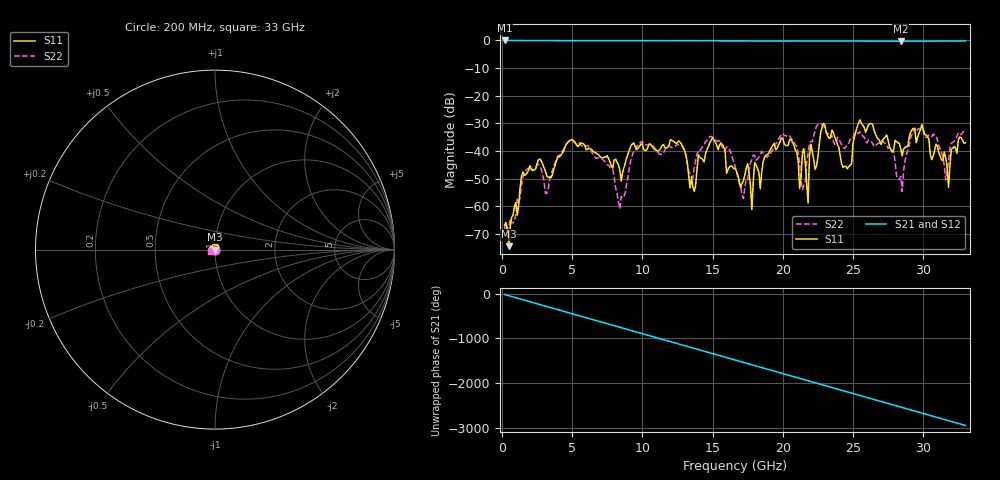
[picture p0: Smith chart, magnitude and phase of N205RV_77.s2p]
# GHZ S RI R 50
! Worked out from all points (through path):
!   329 points, 200 MHz to 33 GHz, reference 50 ohm
!   highest |S21| = -0.02 dB at 200 MHz (marker M1); lowest = -0.3 dB at 28.4 GHz (marker M2)
!   group delay of S21, straight-line fit = 248 ps
!   lowest |S11| = -74.5 dB at 500 MHz (marker M3), VSWR 1.00, Z = 50 + j0.0062 ohm
!   |S11| at or under -10 dB: start of sweep to end of sweep
!   |S22| runs from -68.2 to -30.2 dB; largest |S21 - S12| = 0.0019
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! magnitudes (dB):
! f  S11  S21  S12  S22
! 200 MHz  -66.9  0.0  0.0  -68.2
! 500 MHz  -74.5  0.0  0.0  -67.5
! 1.5 GHz  -47.6  -0.1  -0.1  -49.5
! 5.7 GHz  -37.3  -0.1  -0.1  -38.1
! 8.4 GHz  -46.9  -0.1  -0.1  -61.0
! 9.7 GHz  -39.0  -0.2  -0.2  -37.6
! 11.2 GHz  -39.7  -0.2  -0.2  -41.1
! 13.7 GHz  -54.7  -0.1  -0.1  -45.7
! 16.6 GHz  -46.4  -0.2  -0.2  -45.4
! 17.2 GHz  -50.8  -0.2  -0.2  -57.3
! 17.8 GHz  -61.2  -0.2  -0.2  -43.0
! 18 GHz  -44.2  -0.2  -0.2  -41.7
! 20.5 GHz  -35.7  -0.2  -0.2  -34.6
! 21.2 GHz  -53.6  -0.2  -0.2  -44.1
! 21.4 GHz  -40.6  -0.2  -0.2  -54.1
! 21.8 GHz  -58.8  -0.2  -0.2  -40.9
! 22.1 GHz  -40.3  -0.2  -0.2  -36.7
! 27.6 GHz  -38.5  -0.3  -0.3  -38.6
! 28.4 GHz  -39.3  -0.3  -0.3  -49.2
! 29.4 GHz  -32.4  -0.2  -0.2  -31.8
! 31.8 GHz  -53.2  -0.2  -0.2  -44.1
! 33 GHz  -37.1  -0.2  -0.2  -32.8
